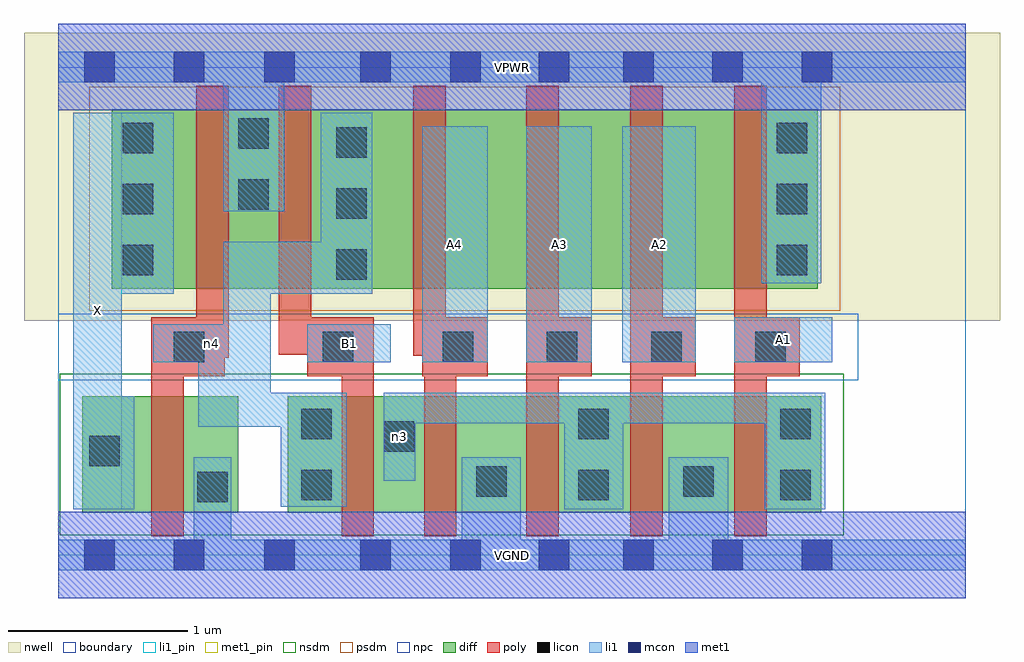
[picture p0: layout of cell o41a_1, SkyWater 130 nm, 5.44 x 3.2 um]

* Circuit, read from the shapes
.subckt o41a_1 A1 A2 A3 A4 B1 VGND VPWR X n3 n4
XM1 VGND n4 X VSUBS sky130_fd_pr__nfet_01v8 w=0.65 l=0.18
XM2 n3 B1 n4 VSUBS sky130_fd_pr__nfet_01v8 w=0.65 l=0.18
XM3 VGND A4 n3 VSUBS sky130_fd_pr__nfet_01v8 w=0.65 l=0.18
XM4 n3 A3 VGND VSUBS sky130_fd_pr__nfet_01v8 w=0.65 l=0.18
XM5 VGND A2 n3 VSUBS sky130_fd_pr__nfet_01v8 w=0.65 l=0.18
XM6 n3 A1 VGND VSUBS sky130_fd_pr__nfet_01v8 w=0.65 l=0.18
XM7 VPWR n4 X n1 sky130_fd_pr__pfet_01v8 w=1 l=0.18
XM8 n4 B1 VPWR n1 sky130_fd_pr__pfet_01v8 w=1 l=0.18
XM9 n2 A4 n4 n1 sky130_fd_pr__pfet_01v8 w=1 l=0.18
XM10 n5 A3 n2 n1 sky130_fd_pr__pfet_01v8 w=1 l=0.18
XM11 n6 A2 n5 n1 sky130_fd_pr__pfet_01v8 w=1 l=0.18
XM12 VPWR A1 n6 n1 sky130_fd_pr__pfet_01v8 w=1 l=0.18
.ends

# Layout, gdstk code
import gdstk
lib = gdstk.Library(unit=1e-6, precision=1e-09)
def R(c, l, rs):  # rectangles x0, y0, x1, y1
    for r in rs: c.add(gdstk.rectangle(r[:2], r[2:], *l))
def A(c, l, x, y, w, h, nx, ny, dx, dy):  # array of equal rectangles
    R(c, l, [(x+i*dx, y+j*dy, x+i*dx+w, y+j*dy+h) for i in range(nx) for j in range(ny)])
nwell = (64, 20)
diff = (65, 20)
poly = (66, 20)
licon = (66, 44)
li1_pin = (67, 16)
li1 = (67, 20)
mcon = (67, 44)
met1_pin = (68, 16)
met1 = (68, 20)
nsdm = (93, 44)
psdm = (94, 20)
npc = (95, 20)
boundary = (235, 4)

o41a_1 = lib.new_cell('o41a_1')
R(o41a_1, nwell, [(-0.19,1.305,5.25,2.91), (0,1.305,5.06,2.91)])
R(o41a_1, diff, [(0.135,0.235,1.005,0.885), (1.28,0.235,4.255,0.885), (0.3,1.485,4.235,2.485)])
A(o41a_1, poly, 2.61, 0.105, 0.18, 2.51, 3, 1, 0.58, 0)
A(o41a_1, poly, 2.03, 0.995, 0.365, 0.33, 4, 1, 0.58, 0)
R(o41a_1, poly, [(0.52,0.105,0.7,1.325), (1.58,0.105,1.76,1.325), (2.04,0.105,2.22,1.325), (0.52,0.995,0.93,1.325), (1.39,0.995,1.76,1.325), (0.77,1.1,0.95,2.615), (1.98,1.11,2.16,2.615), (1.23,1.115,1.41,2.615)])
A(o41a_1, licon, 2.145, 1.075, 0.17, 0.17, 4, 1, 0.58, 0)
A(o41a_1, licon, 1.55, 1.535, 0.17, 0.17, 1, 3, 0, 0.34)
A(o41a_1, licon, 0.36, 1.56, 0.17, 0.17, 1, 3, 0, 0.34)
A(o41a_1, licon, 4.005, 1.56, 0.17, 0.17, 1, 3, 0, 0.34)
R(o41a_1, licon, [(0.775,0.295,0.945,0.465), (1.355,0.305,1.525,0.475), (2.9,0.305,3.07,0.475), (4.025,0.305,4.195,0.475), (2.33,0.325,2.5,0.495), (3.485,0.325,3.655,0.495), (0.175,0.495,0.345,0.665), (1.815,0.575,1.985,0.745), (1.355,0.645,1.525,0.815), (2.9,0.645,3.07,0.815), (4.025,0.645,4.195,0.815), (0.645,1.075,0.815,1.245), (1.475,1.075,1.645,1.245), (1.005,1.925,1.175,2.095), (1.005,2.265,1.175,2.435)])
R(o41a_1, li1_pin, [(0.085,0.255,0.355,2.465), (1.39,1.075,1.855,1.285), (2.03,1.075,2.395,2.39), (2.61,1.075,2.975,2.39), (3.145,1.075,3.555,2.39), (3.77,1.075,4.315,1.325)])
R(o41a_1, li1, [(0,-0.085,5.06,0.085), (0.755,-0.085,0.965,0.545), (2.25,-0.085,2.58,0.545), (3.405,-0.085,3.735,0.545), (0.085,0.255,0.355,2.465), (0.085,0.255,0.425,0.885), (2.82,0.255,3.15,0.905), (3.94,0.255,4.275,0.905), (1.24,0.27,1.61,0.905), (1.815,0.415,1.99,0.905), (0.78,0.715,1.185,1.285), (0.78,0.715,1.61,0.905), (0.92,0.715,1.185,1.745), (1.815,0.735,4.275,0.905), (0.53,1.075,1.185,1.285), (1.39,1.075,1.855,1.285), (2.03,1.075,2.395,2.39), (2.61,1.075,2.975,2.39), (3.145,1.075,3.555,2.39), (3.77,1.075,4.315,1.325), (0.085,1.455,0.645,2.465), (0.92,1.455,1.75,1.745), (1.465,1.455,1.75,2.465), (3.92,1.515,4.255,2.805), (0.92,1.915,1.26,2.805), (0,2.635,5.06,2.805)])
R(o41a_1, mcon, [(0.145,-0.085,0.315,0.085), (0.645,-0.085,0.815,0.085), (1.15,-0.085,1.32,0.085), (1.685,-0.085,1.855,0.085), (2.185,-0.085,2.355,0.085), (2.68,-0.085,2.85,0.085), (3.15,-0.085,3.32,0.085), (3.645,-0.085,3.815,0.085), (4.145,-0.085,4.315,0.085), (0.145,2.635,0.315,2.805), (0.645,2.635,0.815,2.805), (1.15,2.635,1.32,2.805), (1.685,2.635,1.855,2.805), (2.185,2.635,2.355,2.805), (2.68,2.635,2.85,2.805), (3.15,2.635,3.32,2.805), (3.645,2.635,3.815,2.805), (4.145,2.635,4.315,2.805)])
R(o41a_1, met1_pin, [(0,-0.24,5.06,0.24), (0,2.48,5.06,2.96)])
R(o41a_1, met1, [(0,-0.24,5.06,0.24), (0,2.48,5.06,2.96)])
R(o41a_1, nsdm, [(0.01,0.11,4.38,1.01)])
R(o41a_1, psdm, [(0.175,1.36,4.36,2.61)])
R(o41a_1, npc, [(0,0.975,4.46,1.345)])
R(o41a_1, boundary, [(0,0,5.06,2.72)])
o41a_1.add(gdstk.Label('A1', (4.042,1.2), layer=67, texttype=5))
o41a_1.add(gdstk.Label('A2', (3.35,1.732), layer=67, texttype=5))
o41a_1.add(gdstk.Label('A3', (2.792,1.732), layer=67, texttype=5))
o41a_1.add(gdstk.Label('A4', (2.212,1.732), layer=67, texttype=5))
o41a_1.add(gdstk.Label('B1', (1.622,1.18), layer=67, texttype=5))
o41a_1.add(gdstk.Label('X', (0.22,1.36), layer=67, texttype=5))
o41a_1.add(gdstk.Label('n3', (1.902,0.66), layer=67, texttype=5))
o41a_1.add(gdstk.Label('n4', (0.857,1.18), layer=67, texttype=5))
o41a_1.add(gdstk.Label('VPWR', (2.53,2.72), layer=68, texttype=5))
o41a_1.add(gdstk.Label('VGND', (2.53,0), layer=68, texttype=5))
o41a_1.add(gdstk.Label('A1', (4.042,1.2), layer=67, texttype=16))
o41a_1.add(gdstk.Label('A2', (3.35,1.732), layer=67, texttype=16))
o41a_1.add(gdstk.Label('A3', (2.792,1.732), layer=67, texttype=16))
o41a_1.add(gdstk.Label('A4', (2.212,1.732), layer=67, texttype=16))
o41a_1.add(gdstk.Label('B1', (1.622,1.18), layer=67, texttype=16))
o41a_1.add(gdstk.Label('X', (0.22,1.36), layer=67, texttype=16))
o41a_1.add(gdstk.Label('VPWR', (2.53,2.72), layer=68, texttype=16))
o41a_1.add(gdstk.Label('VGND', (2.53,0), layer=68, texttype=16))

lib.write_gds('o41a_1.gds')
